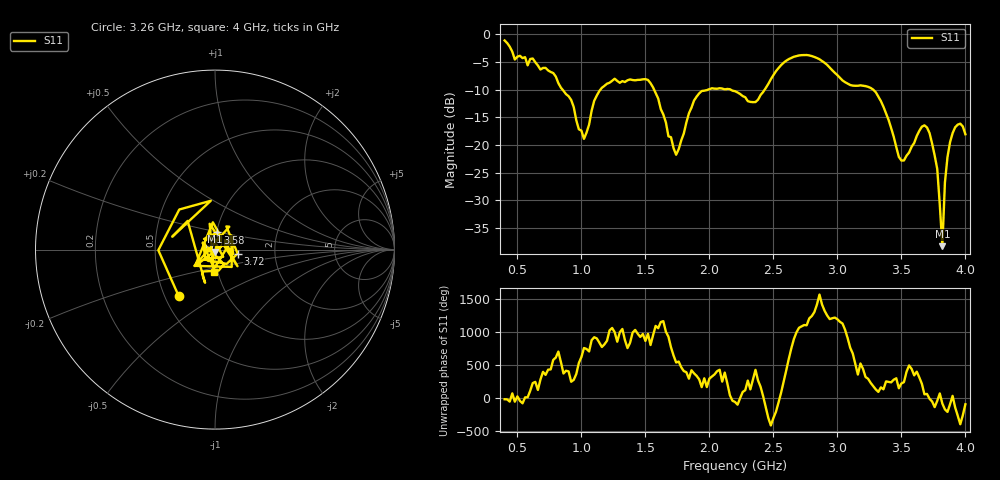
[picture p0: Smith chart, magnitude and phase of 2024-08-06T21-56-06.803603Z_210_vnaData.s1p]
!Created with skrf (http://scikit-rf.org).
# Hz S RI R 50.0
!freq ReS11 ImS11
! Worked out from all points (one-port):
!   181 points, 400 MHz to 4 GHz, reference 50 ohm
!   lowest |S11| = -38.3 dB at 3.82 GHz (marker M1), VSWR 1.02, Z = 50.1 - j1.21 ohm
!   |S11| at or under -10 dB: 852.1 MHz to 1.149 GHz (296.8 MHz wide, 29.7 % of centre); 1.568 GHz to 1.991 GHz (423 MHz wide, 23.8 % of centre); 3.279 GHz to end of sweep (the widest 3 of 4)
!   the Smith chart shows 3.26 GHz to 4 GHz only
!   S11 on the Smith chart (normalised r, x): 3.26 GHz: 0.59, -0.34; 3.58 GHz: 1.01, +0.19; 3.72 GHz: 1.29, -0.06; 4 GHz: 0.96, -0.24
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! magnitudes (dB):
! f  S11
! 400 MHz  -1.1
! 480 MHz  -4.6
! 860 MHz  -10.2
! 1.02 GHz  -18.9
! 1.14 GHz  -10.3
! 1.3 GHz  -8.8
! 1.52 GHz  -8.3
! 1.74 GHz  -21.8
! 1.76 GHz  -20.8
! 1.92 GHz  -10.7
! 2.2 GHz  -10.3
! 2.36 GHz  -12.3
! 2.66 GHz  -4.1
! 2.86 GHz  -4.5
! 3.1 GHz  -9.2
! 3.26 GHz  -9.7
! 3.36 GHz  -13.1
! 3.48 GHz  -22.2
! 3.56 GHz  -21.4
! 3.58 GHz  -20.3
! 3.66 GHz  -16.7
! 3.72 GHz  -17.8
! 3.78 GHz  -24.3
! 3.82 GHz  -38.3
! 3.84 GHz  -26.8
! 3.88 GHz  -19.5
! 3.94 GHz  -16.3
! 4 GHz  -18.1
